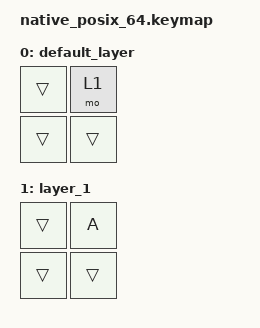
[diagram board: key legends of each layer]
#include <dt-bindings/zmk/keys.h>
#include <behaviors.dtsi>
#include <dt-bindings/zmk/kscan_mock.h>

/*
this test verifies that the correct key is released when a layer is enabled "on top"
and the original key is "covered".
*/
/ {
    keymap {
        compatible = "zmk,keymap";
        label ="Default keymap";

        default_layer {
            bindings = <
                &trans &mo 1
                &trans &trans>;
        };

        layer_1 {
            bindings = <
                &trans &kp A
                &trans &trans>;
        };
    };
};

&kscan {
    events = <
        ZMK_MOCK_PRESS(0,1,10)
        ZMK_MOCK_RELEASE(0,1,10)
    >;
};
